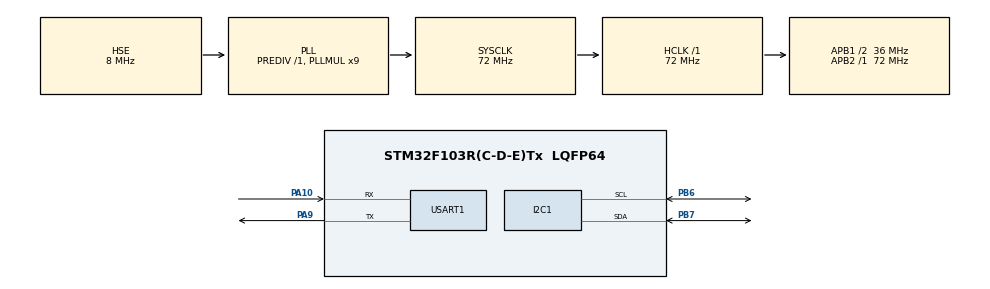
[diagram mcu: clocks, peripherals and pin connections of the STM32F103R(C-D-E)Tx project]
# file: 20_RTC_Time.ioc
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I2C1.I2C_Mode=I2C_Fast
Mcu.Family=STM32F1
Mcu.Name=STM32F103R(C-D-E)Tx
Mcu.Package=LQFP64
NVIC.PriorityGroup=NVIC_PRIORITYGROUP_4
PA10.Mode=Asynchronous
PA10.Signal=USART1_RX
PA13.Mode=Serial_Wire
PA13.Signal=SYS_JTMS-SWDIO
PA14.Mode=Serial_Wire
PA14.Signal=SYS_JTCK-SWCLK
PA9.Mode=Asynchronous
PA9.Signal=USART1_TX
PB6.Mode=I2C
PB6.Signal=I2C1_SCL
PB7.Mode=I2C
PB7.Signal=I2C1_SDA
PC14-OSC32_IN.Mode=LSE-External-Oscillator
PC14-OSC32_IN.Signal=RCC_OSC32_IN
PC15-OSC32_OUT.Mode=LSE-External-Oscillator
PC15-OSC32_OUT.Signal=RCC_OSC32_OUT
PD0-OSC_IN.Mode=HSE-External-Oscillator
PD0-OSC_IN.Signal=RCC_OSC_IN
PD1-OSC_OUT.Mode=HSE-External-Oscillator
PD1-OSC_OUT.Signal=RCC_OSC_OUT
ProjectManager.HeapSize=0x200
ProjectManager.StackSize=0x400
ProjectManager.TargetToolchain=MDK-ARM V5.32
RCC.AHBFreq_Value=72000000
RCC.APB1CLKDivider=RCC_HCLK_DIV2
RCC.APB1Freq_Value=36000000
RCC.APB1TimFreq_Value=72000000
RCC.APB2Freq_Value=72000000
RCC.APB2TimFreq_Value=72000000
RCC.HCLKFreq_Value=72000000
RCC.PLLMUL=RCC_PLL_MUL9
RCC.PLLSourceVirtual=RCC_PLLSOURCE_HSE
RCC.RTCClockSelection=RCC_RTCCLKSOURCE_LSE
RCC.SYSCLKFreq_VALUE=72000000
RCC.SYSCLKSource=RCC_SYSCLKSOURCE_PLLCLK
RCC.USBFreq_Value=72000000
RTC.Format=RTC_FORMAT_BIN
USART1.VirtualMode=VM_ASYNC
VP_RTC_VS_RTC_Activate.Mode=RTC_Enabled
VP_RTC_VS_RTC_Calendar.Mode=RTC_Calendar
board=custom

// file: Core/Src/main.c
/* USER CODE BEGIN Header */
/**
  ******************************************************************************
  * @file           : main.c
  * @brief          : Main program body
  ******************************************************************************
  * @attention
  *
  * Copyright (c) 2024 STMicroelectronics.
  * All rights reserved.
  *
  * This software is licensed under terms that can be found in the LICENSE file
  * in the root directory of this software component.
  * If no LICENSE file comes with this software, it is provided AS-IS.
  *
  ******************************************************************************
  */
/* USER CODE END Header */
#include "main.h"
#include "i2c.h"
#include "rtc.h"
#include "usart.h"
#include "gpio.h"

/* USER CODE BEGIN Includes */
#include "stdio.h"
#include "string.h"
#include "oled.h"
/* USER CODE END Includes */

/* USER CODE BEGIN PV */
static char week[][10] = {"Sunday", "Monday", "Tuesday", "Wednesday", "Thursday", "Friday", "Saturday"};
/* USER CODE END PV */

void SystemClock_Config(void);

int main(void)
{

  /* MCU Configuration--------------------------------------------------------*/

  /* Reset of all peripherals, Initializes the Flash interface and the Systick. */
  HAL_Init();

  /* Configure the system clock */
  SystemClock_Config();

  /* Initialize all configured peripherals */
  MX_GPIO_Init();
  MX_I2C1_Init();
  MX_RTC_Init();
  MX_USART1_UART_Init();
  /* USER CODE BEGIN 2 */
  rtc_init_user();
  /* USER CODE END 2 */

  /* Infinite loop */
  /* USER CODE BEGIN WHILE */
  OLED_Init();
  OLED_Display_On();
  OLED_Clear();

  char date_str[16];
  while (1)
  {
    MyRTC_GetTime();
    memset(date_str, 0, sizeof(date_str));
    sprintf(date_str, "%04d-%02d-%02d", date_info[0], date_info[1], date_info[2]);
    printf("%s\r\n", date_str);
    OLED_ShowString(0, 0, date_str, 16, 0);
    memset(date_str, 0, sizeof(date_str));
    sprintf(date_str, "%02d:%02d:%02d", date_info[3], date_info[4], date_info[5]);
    printf("%s\r\n", date_str);
    OLED_ShowString(0, 2, date_str, 16, 0);
    printf("%s\r\n", week[date_info[6]]);
    OLED_ShowString(0, 4, week[date_info[6]], 16, 0);
    HAL_Delay(1000);
    /* USER CODE END WHILE */

  }
}

void SystemClock_Config(void)
{
  RCC_OscInitTypeDef RCC_OscInitStruct = {0};
  RCC_ClkInitTypeDef RCC_ClkInitStruct = {0};
  RCC_PeriphCLKInitTypeDef PeriphClkInit = {0};

  /** Initializes the RCC Oscillators according to the specified parameters
  * in the RCC_OscInitTypeDef structure.
  */
  RCC_OscInitStruct.OscillatorType = RCC_OSCILLATORTYPE_HSE|RCC_OSCILLATORTYPE_LSE;
  RCC_OscInitStruct.HSEState = RCC_HSE_ON;
  RCC_OscInitStruct.HSEPredivValue = RCC_HSE_PREDIV_DIV1;
  RCC_OscInitStruct.LSEState = RCC_LSE_ON;
  RCC_OscInitStruct.HSIState = RCC_HSI_ON;
  RCC_OscInitStruct.PLL.PLLState = RCC_PLL_ON;
  RCC_OscInitStruct.PLL.PLLSource = RCC_PLLSOURCE_HSE;
  RCC_OscInitStruct.PLL.PLLMUL = RCC_PLL_MUL9;
  if (HAL_RCC_OscConfig(&RCC_OscInitStruct) != HAL_OK)
  {
    Error_Handler();
  }

  /** Initializes the CPU, AHB and APB buses clocks
  */
  RCC_ClkInitStruct.ClockType = RCC_CLOCKTYPE_HCLK|RCC_CLOCKTYPE_SYSCLK
                              |RCC_CLOCKTYPE_PCLK1|RCC_CLOCKTYPE_PCLK2;
  RCC_ClkInitStruct.SYSCLKSource = RCC_SYSCLKSOURCE_PLLCLK;
  RCC_ClkInitStruct.AHBCLKDivider = RCC_SYSCLK_DIV1;
  RCC_ClkInitStruct.APB1CLKDivider = RCC_HCLK_DIV2;
  RCC_ClkInitStruct.APB2CLKDivider = RCC_HCLK_DIV1;

  if (HAL_RCC_ClockConfig(&RCC_ClkInitStruct, FLASH_LATENCY_2) != HAL_OK)
  {
    Error_Handler();
  }
  PeriphClkInit.PeriphClockSelection = RCC_PERIPHCLK_RTC;
  PeriphClkInit.RTCClockSelection = RCC_RTCCLKSOURCE_LSE;
  if (HAL_RCCEx_PeriphCLKConfig(&PeriphClkInit) != HAL_OK)
  {
    Error_Handler();
  }
}

void Error_Handler(void)
{
  __disable_irq();
  while (1)
  {
  }
}
